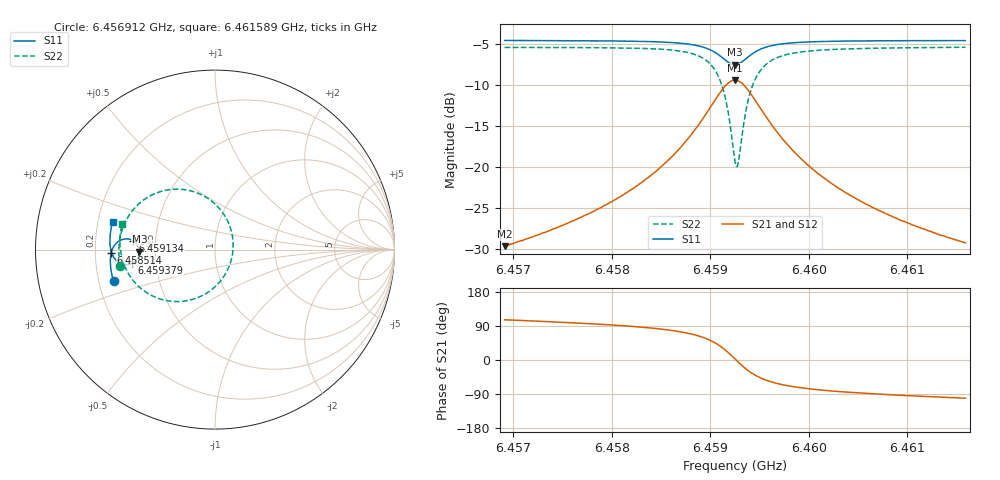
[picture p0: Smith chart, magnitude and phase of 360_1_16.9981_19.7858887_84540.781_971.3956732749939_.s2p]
#  HZ  S  RI  R  50.00
! Rohde & Schwarz Vector Network Analyzer
! Rohde-Schwarz,ZNB20-2Port,1311601062101988,3.16
! Created: UTC 3/20/2024, 11:08:11 PM
! freq[Hz]  re:S11  im:S11  re:S21  im:S21  re:S12  im:S12  re:S22  im:S22
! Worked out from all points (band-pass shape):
!   401 points, 6.456912 GHz to 6.461589 GHz, reference 50 ohm
!   highest |S21| = -9.39 dB at 6.459251 GHz (marker M1); lowest = -29.6 dB at 6.456912 GHz (marker M2)
!   |S21| within 3 dB of the highest: 6.459017 GHz to 6.459484 GHz (467.4 kHz wide, 0.00724 % of centre)
!   lowest |S11| = -7.5 dB at 6.459251 GHz (marker M3), VSWR 2.45, Z = 20.4 - j0.584 ohm
!   |S11| at or under -10 dB: nowhere
!   |S22| runs from -19.9 to -5.4 dB; largest |S21 - S12| = 0.013
!   S11 on the Smith chart (normalised r, x): 6.456912 GHz: 0.26, -0.14; 6.458514 GHz: 0.27, -0.02; 6.459134 GHz: 0.37, +0.05; 6.459379 GHz: 0.36, -0.07; 6.461589 GHz: 0.26, +0.12
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6.4569117e9  -0.565 -0.1774  -0.00909 0.0317  -0.00742 0.0316  -0.5291 -0.0901
6.4576952e9  -0.58 -0.1092  -0.00599 0.0493  -0.00343 0.0487  -0.5358 -4.7e-05
6.4581162e9  -0.5832 -0.0675  -0.000547 0.0678  0.00271 0.0664  -0.5289 0.0652
6.4584787e9  -0.5798 -0.0248  0.0132 0.0968  0.0171 0.0943  -0.5043 0.1445
6.4585138e9  -0.5787 -0.02  0.0156 0.1009  0.0196 0.0981  -0.4997 0.1543
6.458736e9  -0.5665 0.0134  0.042 0.1335  0.0461 0.1289  -0.4505 0.2285
6.458888e9  -0.5457 0.0396  0.0837 0.1635  0.0871 0.1572  -0.3736 0.2925
6.45904e9  -0.5005 0.0595  0.174 0.1827  0.175 0.1754  -0.209 0.3368
6.4591336e9  -0.4564 0.0497  0.2625 0.1526  0.2627 0.1467  -0.0454 0.2889
6.4591804e9  -0.4356 0.0314  0.3056 0.1108  0.3068 0.1055  0.0365 0.2146
6.4592505e9  -0.4208 -0.0118  0.3388 0.0156  0.3421 0.00883  0.101 0.0388
6.4592622e9  -0.4212 -0.0197  0.3389 -0.0018  0.3423 -0.00937  0.101 0.00584
6.4592856e9  -0.4246 -0.035  0.3335 -0.0359  0.337 -0.0448  0.0905 -0.0587
6.4593324e9  -0.4399 -0.0607  0.3057 -0.0949  0.3075 -0.1065  0.0348 -0.1698
6.4593792e9  -0.4615 -0.0766  0.2644 -0.1353  0.2636 -0.1482  -0.0482 -0.2436
6.4594727e9  -0.5043 -0.0832  0.1812 -0.1662  0.1754 -0.1776  -0.2133 -0.2895
6.4596248e9  -0.5474 -0.0628  0.095 -0.1532  0.0869 -0.1592  -0.3776 -0.2421
6.4597885e9  -0.5686 -0.0351  0.0509 -0.1261  0.0436 -0.1288  -0.4567 -0.1715
6.460034e9  -0.581 0.000374  0.0222 -0.0953  0.0165 -0.0959  -0.5044 -0.0904
6.4603498e9  -0.5855 0.0378  0.00738 -0.071  0.00329 -0.0706  -0.5246 -0.0188
6.4608176e9  -0.5836 0.0848  -0.00126 -0.0508  -0.00421 -0.05  -0.5299 0.0555
6.4615894e9  -0.571 0.1528  -0.00648 -0.034  -0.00813 -0.033  -0.5184 0.1453
